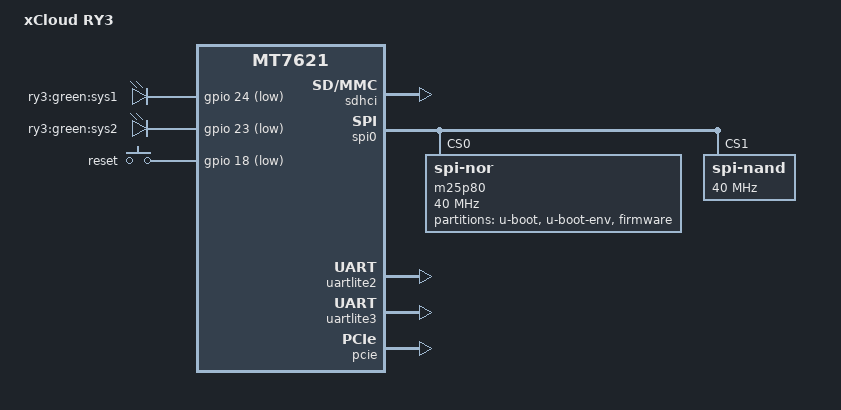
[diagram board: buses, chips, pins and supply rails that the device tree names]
/dts-v1/;

#include "mt7621.dtsi"

#include <dt-bindings/gpio/gpio.h>
#include <dt-bindings/input/input.h>

/ {
	compatible = "d-team,ry3", "mediatek,mt7621-soc";
	model = "xCloud RY3";

	/*aliases {
		led-boot = &led_sys;
		led-failsafe = &led_sys;
		led-running = &led_sys;
		led-upgrade = &led_sys;
	};*/

	/*memory@0 {
		device_type = "memory";
		reg = <0x0 0x1c000000>, <0x20000000 0x4000000>;
	};*/

	chosen {
		bootargs = "console=ttyS0,115200 root=/dev/sda2 rootwait";
	};

	leds {
		compatible = "gpio-leds";

		led_sys: sys {
			label = "ry3:green:sys1";
			gpios = <&gpio 24 GPIO_ACTIVE_LOW>;
		};

		sys2 {
			label = "ry3:green:sys2";
			gpios = <&gpio 23 GPIO_ACTIVE_LOW>;
		};
	};

	keys {
		compatible = "gpio-keys";

		reset {
			label = "reset";
			gpios = <&gpio 18 GPIO_ACTIVE_LOW>;
			linux,code = <KEY_RESTART>;
		};
	};
};
/*
&gpio {
	power_usb2 {
		gpio-hog;
		gpios = <22 GPIO_ACTIVE_HIGH>;
		output-high;
		line-name = "power-usb2";
	};

	power_usb3 {
		gpio-hog;
		gpios = <25 GPIO_ACTIVE_HIGH>;
		output-high;
		line-name = "power-usb3";
	};

	power_sata {
		gpio-hog;
		gpios = <27 GPIO_ACTIVE_HIGH>;
		output-high;
		line-name = "power-sata";
	};
};

&i2c {
	status = "okay";

	pcf8563: rtc@51 {
		status = "okay";
		compatible = "nxp,pcf8563";
		reg = <0x51>;
	};
};
*/
&sdhci {
	status = "okay";
};

&spi0 {
	status = "okay";

	m25p80@0 {
		compatible = "jedec,spi-nor";
		reg = <0>;
		spi-max-frequency = <40000000>;

		partitions {
			compatible = "fixed-partitions";
			#address-cells = <1>;
			#size-cells = <1>;

			partition@0 {
				label = "u-boot";
				reg = <0x0 0x40000>;
				read-only;
			};

			factory: partition@40000 {
				label = "u-boot-env";
				reg = <0x40000 0x10000>;
				read-only;
			};

			partition@50000 {
				compatible = "denx,uimage";
				label = "firmware";
				reg = <0x50000 0xfb0000>;
			};
		};
	};

	spi-nand@1 {
		compatible = "spi-nand";
		reg = <1>;
		spi-max-frequency = <40000000>;
	};
};

&uartlite2 {
	status = "okay";
};

&uartlite3 {
	status = "okay";
};

&pcie {
	status = "okay";
};
/*
	pcie@0,0 {
		wifi@0,0 {
			compatible = "mediatek,mt76";
			reg = <0x0000 0 0 0 0>;
			ieee80211-freq-limit = <5000000 6000000>;
			mediatek,mtd-eeprom = <&factory 0x8000>;
		};
	};

	pcie@1,0 {
		wifi@0,0 {
			compatible = "mediatek,mt76";
			reg = <0x0000 0 0 0 0>;
			ieee80211-freq-limit = <2400000 2500000>;
			mediatek,mtd-eeprom = <&factory 0x0000>;
		};
	};
};

&ethernet {
	mtd-mac-address = <&factory 0xe000>;
};
*/
&pinctrl {
	state_default: pinctrl0 {
		gpio {
			ralink,group = "wdt", "rgmii2";
			ralink,function = "gpio";
		};
	};
};

&switch0 {
	ports {
		port@0 {
			status = "okay";
		};
		port@2 {
			status = "okay";
		};
		port@4 {
			status = "okay";
		};
	};
};

